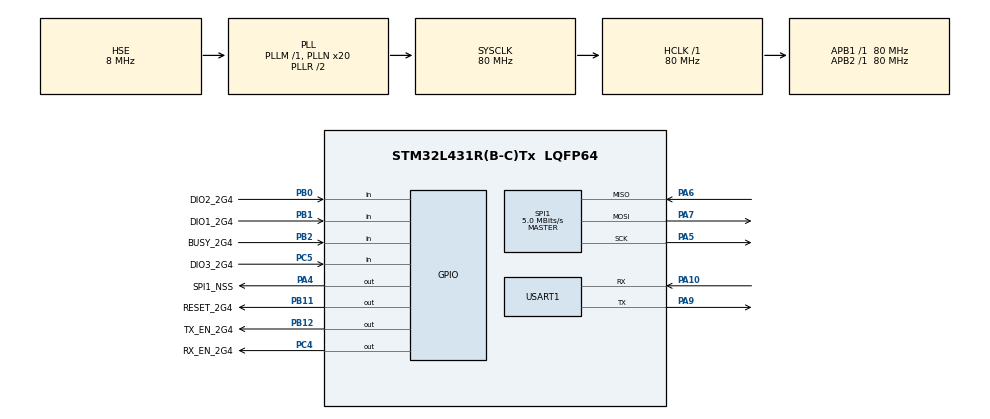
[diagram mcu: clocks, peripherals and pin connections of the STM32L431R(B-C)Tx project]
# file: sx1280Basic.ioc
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Mcu.Family=STM32L4
Mcu.Name=STM32L431R(B-C)Tx
Mcu.Package=LQFP64
NVIC.PriorityGroup=NVIC_PRIORITYGROUP_4
NVIC.USART1_IRQn=true\:1\:0\:true\:false\:true\:true\:true
PA10.Mode=Asynchronous
PA10.Signal=USART1_RX
PA4.GPIO_Label=SPI1_NSS
PA4.PinState=GPIO_PIN_SET
PA4.Signal=GPIO_Output
PA5.Mode=Full_Duplex_Master
PA5.Signal=SPI1_SCK
PA6.Mode=Full_Duplex_Master
PA6.Signal=SPI1_MISO
PA7.Mode=Full_Duplex_Master
PA7.Signal=SPI1_MOSI
PA9.Mode=Asynchronous
PA9.Signal=USART1_TX
PB0.GPIO_Label=DIO2_2G4
PB0.Signal=GPIO_Input
PB1.GPIO_Label=DIO1_2G4
PB1.Signal=GPIO_Input
PB11.GPIO_Label=RESET_2G4
PB11.PinState=GPIO_PIN_SET
PB11.Signal=GPIO_Output
PB12.GPIO_Label=TX_EN_2G4
PB12.Signal=GPIO_Output
PB2.GPIO_Label=BUSY_2G4
PB2.Signal=GPIO_Input
PC4.GPIO_Label=RX_EN_2G4
PC4.Signal=GPIO_Output
PC5.GPIO_Label=DIO3_2G4
PC5.Signal=GPIO_Input
PH0-OSC_IN\ (PH0).Mode=HSE-External-Oscillator
PH0-OSC_IN\ (PH0).Signal=RCC_OSC_IN
PH1-OSC_OUT\ (PH1).Mode=HSE-External-Oscillator
PH1-OSC_OUT\ (PH1).Signal=RCC_OSC_OUT
ProjectManager.HeapSize=0x200
ProjectManager.StackSize=0x400
ProjectManager.TargetToolchain=MDK-ARM V5
RCC.ADCFreq_Value=32000000
RCC.AHBFreq_Value=80000000
RCC.APB1Freq_Value=80000000
RCC.APB1TimFreq_Value=80000000
RCC.APB2Freq_Value=80000000
RCC.APB2TimFreq_Value=80000000
RCC.CortexFreq_Value=80000000
RCC.HCLKFreq_Value=80000000
RCC.HSE_VALUE=8000000
RCC.HSI48_VALUE=48000000
RCC.HSI_VALUE=16000000
RCC.LSE_VALUE=32768
RCC.MSI_VALUE=4000000
RCC.PLLN=20
RCC.PLLSourceVirtual=RCC_PLLSOURCE_HSE
RCC.SYSCLKFreq_VALUE=80000000
RCC.SYSCLKSource=RCC_SYSCLKSOURCE_PLLCLK
RCC.VCOOutputFreq_Value=160000000
SPI1.BaudRatePrescaler=SPI_BAUDRATEPRESCALER_16
SPI1.CalculateBaudRate=5.0 MBits/s
SPI1.DataSize=SPI_DATASIZE_8BIT
SPI1.Direction=SPI_DIRECTION_2LINES
SPI1.Mode=SPI_MODE_MASTER
SPI1.VirtualType=VM_MASTER
USART1.VirtualMode-Asynchronous=VM_ASYNC
board=custom

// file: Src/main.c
/* USER CODE BEGIN Header */
/**
  ******************************************************************************
  * @file           : main.c
  * @brief          : Main program body
  ******************************************************************************
  * @attention
  *
  * <h2><center>&copy; Copyright (c) 2019 STMicroelectronics.
  * All rights reserved.</center></h2>
  *
  * This software component is licensed by ST under BSD 3-Clause license,
  * the "License"; You may not use this file except in compliance with the
  * License. You may obtain a copy of the License at:
  *                        opensource.org/licenses/BSD-3-Clause
  *
  ******************************************************************************
  */
/* USER CODE END Header */

#include "main.h"
#include "spi.h"
#include "usart.h"
#include "gpio.h"

/* USER CODE BEGIN Includes */
#include "2G4.h"
#include "func.h"
/* USER CODE END Includes */

/* USER CODE BEGIN PD */

/*
 *\brief 0 for Tx and 1 for Rx
 */
#define LORAMODE             0
/*
 *\brief 0 for LORA and 1 for RANGING
 */
#define APPMODE              0
/* USER CODE END PD */

void SystemClock_Config(void);

int main(void)
{

  /* MCU Configuration--------------------------------------------------------*/

  /* Reset of all peripherals, Initializes the Flash interface and the Systick. */
  HAL_Init();

  /* Configure the system clock */
  SystemClock_Config();

  /* Initialize all configured peripherals */
  MX_GPIO_Init();
  MX_SPI1_Init();
  MX_USART1_UART_Init();
  /* USER CODE BEGIN 2 */
   uint8_t RxData[20];
   uint8_t RxSize = 0;
   uint8_t rssi;
   double distance;

    LORA2G4SetParams();

    printf("System init\r\n");

    #if (APPMODE == 0)
    {
        printf("APP for LORA\r\n");
        LORA2G4Init();
        #if (LORAMODE == 1)
        {
            LORA2G4SetRx();
            printf("Role for Rx\r\n");
        }
        #else
        {
            printf("Role for Tx\r\n");
        }
        #endif /*LORAMODE*/
    }
    #else
    {
        printf("APP for RANGING\r\n");
        #if (LORAMODE == 1)
        {
            printf("Role for slave\r\n");
            LORA2G4InitRanging(SX1280_RADIO_RANGING_ROLE_SLAVE);
        }
        #else
        {
            printf("Role for master\r\n");
            LORA2G4InitRanging(SX1280_RADIO_RANGING_ROLE_MASTER);
        }
        #endif /*LORAMODE*/
    }
    #endif /*APPMODE*/

    printf("-------------------------\r\n");

  /* USER CODE END 2 */

  /* Infinite loop */
  /* USER CODE BEGIN WHILE */
  while (1)
  {

      #if (APPMODE == 0)
      {
          #if (LORAMODE == 0)
          {
              printf("hello world\r\n");
              LORA2G4SendData("hello\r\n", 7);
              HAL_Delay(400);
          }
          #else
          {
              if (HAL_GPIO_ReadPin(DIO1_2G4_GPIO_Port, DIO1_2G4_Pin) == 1)
              {
                  SX1280GetPayload(RxData, &RxSize, LORA2G4_BUFFER_SIZE);
                  SX1280ClearIrqStatus(SX1280_IRQ_RADIO_ALL);

                  rssi = SX1280GetRssiInst();

                  printf("Received msg: ");
                  while(HAL_UART_Transmit_IT(&huart1, RxData, RxSize) == HAL_BUSY);
                  while(HAL_UART_Transmit_IT(&huart1, "\r\n", 2) == HAL_BUSY);
                  printf("Rssi: %d\r\n----------\r\n", rssi);

                  LORA2G4SetRx();
              }
          }
          #endif /*LORAMODE*/
      }
      #else
      {
          #if (LORAMODE == 0)
          {
              if (HAL_GPIO_ReadPin(DIO1_2G4_GPIO_Port, DIO1_2G4_Pin) == 1)
              {
                  distance = SX1280GetRangingResult(SX1280_RANGING_RESULT_RAW);
                  printf("Distace is : %.2lfm\r\n", distance);

                  HAL_Delay(1000);
                  LORA2G4InitRanging(SX1280_RADIO_RANGING_ROLE_MASTER);
              }
          }
          #else
          {
              ;
          }
          #endif /*LORAMODE*/
      }
      #endif /*APPMODE*/

    /* USER CODE END WHILE */

  }
}

void SystemClock_Config(void)
{
  RCC_OscInitTypeDef RCC_OscInitStruct = {0};
  RCC_ClkInitTypeDef RCC_ClkInitStruct = {0};
  RCC_PeriphCLKInitTypeDef PeriphClkInit = {0};

  /** Initializes the CPU, AHB and APB busses clocks
  */
  RCC_OscInitStruct.OscillatorType = RCC_OSCILLATORTYPE_HSE;
  RCC_OscInitStruct.HSEState = RCC_HSE_ON;
  RCC_OscInitStruct.PLL.PLLState = RCC_PLL_ON;
  RCC_OscInitStruct.PLL.PLLSource = RCC_PLLSOURCE_HSE;
  RCC_OscInitStruct.PLL.PLLM = 1;
  RCC_OscInitStruct.PLL.PLLN = 20;
  RCC_OscInitStruct.PLL.PLLP = RCC_PLLP_DIV7;
  RCC_OscInitStruct.PLL.PLLQ = RCC_PLLQ_DIV2;
  RCC_OscInitStruct.PLL.PLLR = RCC_PLLR_DIV2;
  if (HAL_RCC_OscConfig(&RCC_OscInitStruct) != HAL_OK)
  {
    Error_Handler();
  }
  /** Initializes the CPU, AHB and APB busses clocks
  */
  RCC_ClkInitStruct.ClockType = RCC_CLOCKTYPE_HCLK|RCC_CLOCKTYPE_SYSCLK
                              |RCC_CLOCKTYPE_PCLK1|RCC_CLOCKTYPE_PCLK2;
  RCC_ClkInitStruct.SYSCLKSource = RCC_SYSCLKSOURCE_PLLCLK;
  RCC_ClkInitStruct.AHBCLKDivider = RCC_SYSCLK_DIV1;
  RCC_ClkInitStruct.APB1CLKDivider = RCC_HCLK_DIV1;
  RCC_ClkInitStruct.APB2CLKDivider = RCC_HCLK_DIV1;

  if (HAL_RCC_ClockConfig(&RCC_ClkInitStruct, FLASH_LATENCY_4) != HAL_OK)
  {
    Error_Handler();
  }
  PeriphClkInit.PeriphClockSelection = RCC_PERIPHCLK_USART1;
  PeriphClkInit.Usart1ClockSelection = RCC_USART1CLKSOURCE_PCLK2;
  if (HAL_RCCEx_PeriphCLKConfig(&PeriphClkInit) != HAL_OK)
  {
    Error_Handler();
  }
  /** Configure the main internal regulator output voltage
  */
  if (HAL_PWREx_ControlVoltageScaling(PWR_REGULATOR_VOLTAGE_SCALE1) != HAL_OK)
  {
    Error_Handler();
  }
}

void Error_Handler(void)
{
}

/************************ (C) COPYRIGHT STMicroelectronics *****END OF FILE****/
